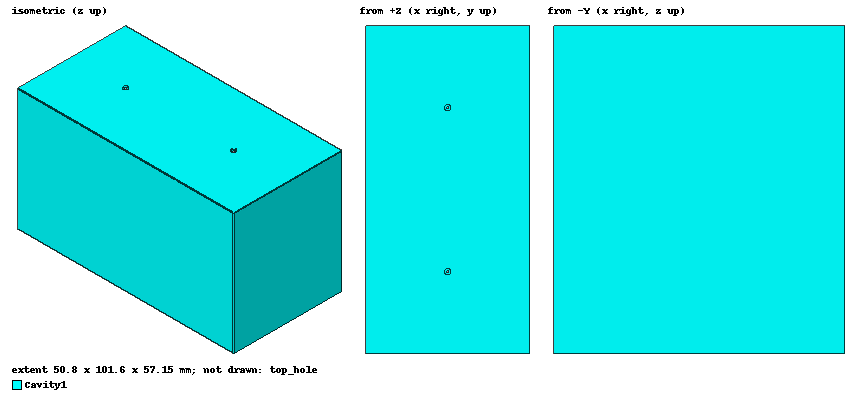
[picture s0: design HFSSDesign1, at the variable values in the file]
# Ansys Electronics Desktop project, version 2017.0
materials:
  vacuum: permittivity=1
  perfect conductor: conductivity=1e+030

design HFSSDesign1 (HFSS, Eigenmode, model units mm)
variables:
  inner_pole_radius = 0.3in
  inner_pole_height = 0.5in
  pin_length = 1in
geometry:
  Cavity1 [perfect conductor] = box(corner=(0in, 0in, 0in), size=(2in, 2in, 2.25in))
  Cylinder4 = cylinder(axis=Z, base_centre=(1in, 1in, 0.1in), radius=0.85in, height=2in)
  Cylinder5 = cylinder(axis=Z, base_centre=(1in, 1in, 0.1in), radius=inner_pole_radius, height=inner_pole_height)
  Cylinder5_1 = Cylinder5.copy()
  Cylinder4.subtract(Cylinder5_1)
  Cylinder4_1 = Cylinder4.copy()
  Cavity1.subtract(Cylinder4_1)
  Cavity1.unite(Cylinder5)
  Cavity1_1 = Cavity1.duplicate_along_line(step=(0in, 2in, 0in), total=2)
  Cylinder4_2 = Cylinder4.duplicate_along_line(step=(0in, 2in, 0in), total=2)
  Cylinder6 = cylinder(axis=Y, base_centre=(1in, 1.8in, 0.3in), radius=0.05in, height=0.4in)
  Cylinder6_1 = Cylinder6.copy()
  Cavity1.subtract(Cylinder6_1)
  Cylinder6_2 = Cylinder6.copy()
  Cavity1_1.subtract(Cylinder6_2)
  Cylinder6_3 = Cylinder6.copy()
  Cylinder4.subtract(Cylinder6_3)
  Cylinder6_4 = Cylinder6.copy()
  Cylinder4_2.subtract(Cylinder6_4)
  Cylinder4_2.unite(Cylinder6, Cylinder4)
  Cavity1.unite(Cavity1_1)
  top_hole [vacuum] = cylinder(axis=Z, base_centre=(1in, 1in, 2.1in), radius=0.043in, height=0.15in)
  top_hole_1 = top_hole.duplicate_along_line(step=(0in, 2in, 0in), total=2)
  top_hole_2 = top_hole.copy()
  Cavity1.subtract(top_hole_2)
  top_hole_1_1 = top_hole_1.copy()
  Cavity1.subtract(top_hole_1_1)
  top_hole.unite(top_hole_1, Cylinder4_2)
  pin [perfect conductor] = cylinder(axis=Z, base_centre=(1in, 1in, 2.25in), radius=0.01in, height=-pin_length)
  pin_1 [perfect conductor] = pin.duplicate_along_line(step=(0in, 2in, 0in), total=2)
  pin_1_1 = pin_1.copy()
  top_hole.subtract(pin_1_1)
  pin_2 = pin.copy()
  top_hole.subtract(pin_2)
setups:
  Setup1: HfssEigen MinimumFrequency=1.47638GHz NumModes=10 MaxDeltaFreq=10 ConvergeOnRealFreq=false MaximumPasses=3 MinimumPasses=1 MinimumConvergedPasses=1 PercentRefinement=30 BasisOrder=1
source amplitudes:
  #-10:1, #-10:2, #-10:4..#-10:10: 0 0deg
  #-10:3: 1 0deg
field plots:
  Vector_E1: E Field in top_hole on Setup1 : LastAdaptive at Phase=0deg
